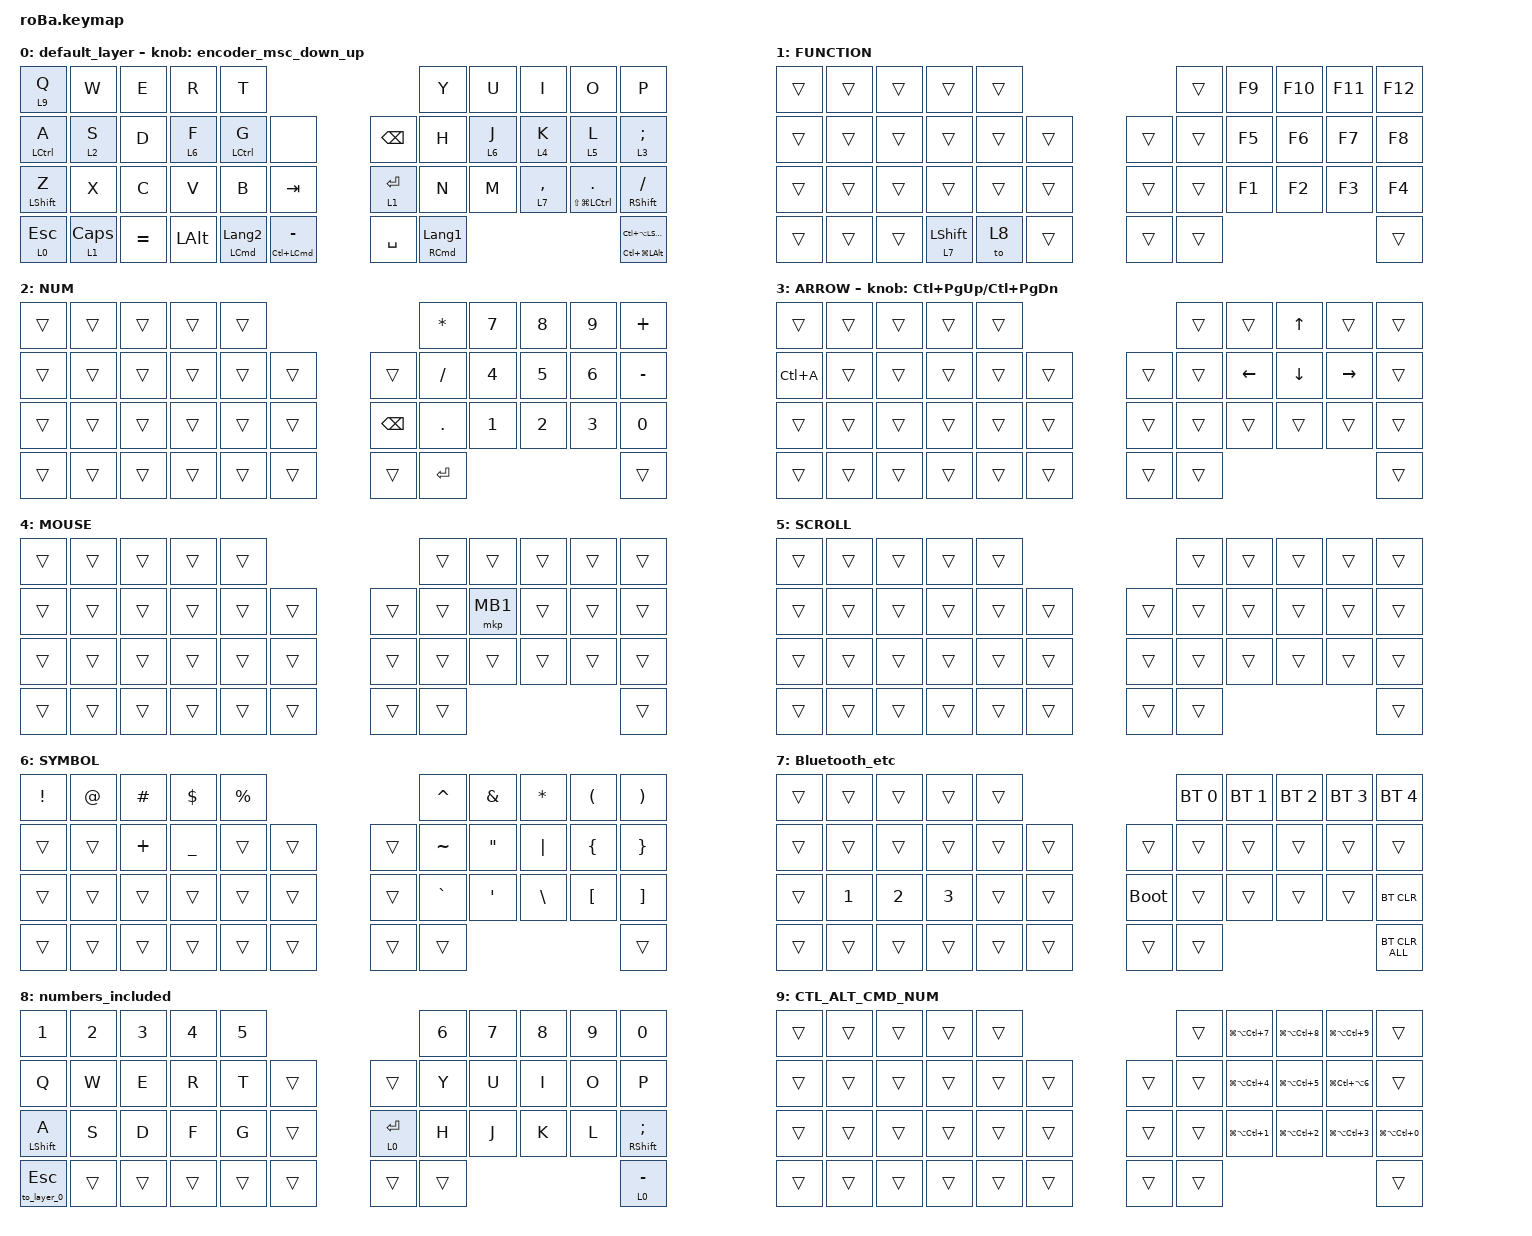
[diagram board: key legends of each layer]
#include <behaviors.dtsi>
#include <dt-bindings/zmk/bt.h>
#include <dt-bindings/zmk/keys.h>
#include <dt-bindings/zmk/pointing.h>

#define ZMK_POINTING_DEFAULT_SCRL_VAL 80

&mt {
    flavor = "balanced";
    quick-tap-ms = <0>;
};

&trackball {
    // automouse-layer = <4>;

    scroll-layers = <5>;

    // arrows {
    //     layers = <3>;
    //     bindings =
    //         <&kp RIGHT_ARROW>,
    //         <&kp LEFT_ARROW>,
    //         <&kp UP_ARROW>,
    //         <&kp DOWN_ARROW>;
    //     tick = <10>;
    //     wait-ms = <5>;
    //     tap-ms = <5>;
    // };
};

/ {
    combos { compatible = "zmk,combos"; };

    macros {
        to_layer_0: to_layer_0 {
            compatible = "zmk,behavior-macro-one-param";
            #binding-cells = <1>;
            bindings = <&to 0 &macro_param_1to1 &kp MACRO_PLACEHOLDER>;
            label = "TO_LAYER_0";
        };
    };

    behaviors {
        encoder_msc_down_up: encoder_msc_down_up {
            compatible = "zmk,behavior-sensor-rotate";
            label = "ENCODER_MSC_DOWN_UP";
            #sensor-binding-cells = <0>;
            bindings = <&msc SCRL_DOWN>, <&msc SCRL_UP>;

            tap-ms = <20>;
        };

        mt_sk: mt_sk {
            compatible = "zmk,behavior-hold-tap";
            label = "MT_SK";
            bindings = <&kp>, <&sk>;

            #binding-cells = <2>;
            tapping-term-ms = <200>;
            flavor = "balanced";
            quick-tap-ms = <0>;
        };

        lt_to_layer_0: lt_to_layer_0 {
            compatible = "zmk,behavior-hold-tap";
            label = "LAYER_TAP_TO_0";
            bindings = <&mo>, <&to_layer_0>;

            #binding-cells = <2>;
            tapping-term-ms = <200>;
        };
    };

    keymap {
        compatible = "zmk,keymap";

        default_layer {
            bindings = <
&lt 9 Q                  &kp W           &kp E      &kp R         &kp T                                                                       &kp Y                         &kp U    &kp I        &kp O                         &kp P
&mt LEFT_CONTROL A       &lt 2 S         &kp D      &lt 6 F       &mt LEFT_CONTROL G           &none                           &kp BACKSPACE  &kp H                         &lt 6 J  &lt 4 K      &lt 5 L                       &lt 3 SEMICOLON
&mt LEFT_SHIFT Z         &kp X           &kp C      &kp V         &kp B                        &kp TAB                         &lt 1 ENTER    &kp N                         &kp M    &lt 7 COMMA  &mt LS(LG(LEFT_CONTROL)) DOT  &mt RIGHT_SHIFT SLASH
&lt_to_layer_0 0 ESCAPE  &lt 1 CAPSLOCK  &kp EQUAL  &kp LEFT_ALT  &mt LEFT_COMMAND LANGUAGE_2  &mt LC(LEFT_COMMAND) MINUS      &kp SPACE      &mt RIGHT_COMMAND LANGUAGE_1                                                      &mt_sk LC(LG(LEFT_ALT)) LC(LA(LEFT_SHIFT))
            >;

            sensor-bindings = <&encoder_msc_down_up>;
        };

        FUNCTION {
            bindings = <
&trans  &trans  &trans  &trans                       &trans                      &trans  &kp F9  &kp F10  &kp F11  &kp F12
&trans  &trans  &trans  &trans                       &trans  &trans      &trans  &trans  &kp F5  &kp F6   &kp F7   &kp F8
&trans  &trans  &trans  &trans                       &trans  &trans      &trans  &trans  &kp F1  &kp F2   &kp F3   &kp F4
&trans  &trans  &trans  &lt_to_layer_0 7 LEFT_SHIFT  &to 8   &trans      &trans  &trans                            &trans
            >;
        };

        NUM {
            bindings = <
&trans  &trans  &trans  &trans  &trans                             &kp ASTRK  &kp N7  &kp N8  &kp N9  &kp PLUS
&trans  &trans  &trans  &trans  &trans  &trans      &trans         &kp SLASH  &kp N4  &kp N5  &kp N6  &kp MINUS
&trans  &trans  &trans  &trans  &trans  &trans      &kp BACKSPACE  &kp DOT    &kp N1  &kp N2  &kp N3  &kp N0
&trans  &trans  &trans  &trans  &trans  &trans      &trans         &kp ENTER                          &trans
            >;
        };

        ARROW {
            bindings = <
&trans     &trans  &trans  &trans  &trans                      &trans  &trans          &kp UP_ARROW    &trans           &trans
&kp LC(A)  &trans  &trans  &trans  &trans  &trans      &trans  &trans  &kp LEFT_ARROW  &kp DOWN_ARROW  &kp RIGHT_ARROW  &trans
&trans     &trans  &trans  &trans  &trans  &trans      &trans  &trans  &trans          &trans          &trans           &trans
&trans     &trans  &trans  &trans  &trans  &trans      &trans  &trans                                                   &trans
            >;

            sensor-bindings = <&inc_dec_kp LC(PAGE_UP) LC(PAGE_DOWN)>;
        };

        MOUSE {
            bindings = <
&trans  &trans  &trans  &trans  &trans                      &trans  &trans    &trans  &trans  &trans
&trans  &trans  &trans  &trans  &trans  &trans      &trans  &trans  &mkp MB1  &trans  &trans  &trans
&trans  &trans  &trans  &trans  &trans  &trans      &trans  &trans  &trans    &trans  &trans  &trans
&trans  &trans  &trans  &trans  &trans  &trans      &trans  &trans                            &trans
            >;
        };

        SCROLL {
            bindings = <
&trans  &trans  &trans  &trans  &trans                      &trans  &trans  &trans  &trans  &trans
&trans  &trans  &trans  &trans  &trans  &trans      &trans  &trans  &trans  &trans  &trans  &trans
&trans  &trans  &trans  &trans  &trans  &trans      &trans  &trans  &trans  &trans  &trans  &trans
&trans  &trans  &trans  &trans  &trans  &trans      &trans  &trans                          &trans
            >;
        };

        SYMBOL {
            bindings = <
&kp EXCL  &kp AT  &kp HASH  &kp DOLLAR      &kp PERCENT                      &kp CARET  &kp AMPERSAND      &kp ASTRK      &kp LEFT_PARENTHESIS  &kp RIGHT_PARENTHESIS
&trans    &trans  &kp PLUS  &kp UNDERSCORE  &trans       &trans      &trans  &kp TILDE  &kp DOUBLE_QUOTES  &kp PIPE       &kp LEFT_BRACE        &kp RIGHT_BRACE
&trans    &trans  &trans    &trans          &trans       &trans      &trans  &kp GRAVE  &kp SINGLE_QUOTE   &kp BACKSLASH  &kp LEFT_BRACKET      &kp RIGHT_BRACKET
&trans    &trans  &trans    &trans          &trans       &trans      &trans  &trans                                                             &trans
            >;
        };

        Bluetooth_etc {
            bindings = <
&trans  &trans        &trans        &trans        &trans                           &bt BT_SEL 0  &bt BT_SEL 1  &bt BT_SEL 2  &bt BT_SEL 3  &bt BT_SEL 4
&trans  &trans        &trans        &trans        &trans  &trans      &trans       &trans        &trans        &trans        &trans        &trans
&trans  &kp NUMBER_1  &kp NUMBER_2  &kp NUMBER_3  &trans  &trans      &bootloader  &trans        &trans        &trans        &trans        &bt BT_CLR
&trans  &trans        &trans        &trans        &trans  &trans      &trans       &trans                                                  &bt BT_CLR_ALL
            >;
        };

        numbers_included {
            bindings = <
&kp N1              &kp N2  &kp N3  &kp N4  &kp N5                                      &kp N6  &kp N7  &kp N8  &kp N9  &kp N0
&kp Q               &kp W   &kp E   &kp R   &kp T   &trans      &trans                  &kp Y   &kp U   &kp I   &kp O   &kp P
&mt LEFT_SHIFT A    &kp S   &kp D   &kp F   &kp G   &trans      &lt_to_layer_0 0 ENTER  &kp H   &kp J   &kp K   &kp L   &mt RIGHT_SHIFT SEMICOLON
&to_layer_0 ESCAPE  &trans  &trans  &trans  &trans  &trans      &trans                  &trans                          &lt 0 MINUS
            >;
        };

        CTL_ALT_CMD_NUM {
            bindings = <
&trans  &trans  &trans  &trans  &trans                      &trans  &kp LG(LA(LC(N7)))        &kp LG(LA(LC(N8)))        &kp LG(LA(LC(N9)))        &trans
&trans  &trans  &trans  &trans  &trans  &trans      &trans  &trans  &kp LG(LA(LC(NUMBER_4)))  &kp LG(LA(LC(N5)))        &kp LG(LC(LA(NUMBER_6)))  &trans
&trans  &trans  &trans  &trans  &trans  &trans      &trans  &trans  &kp LG(LA(LC(NUMBER_1)))  &kp LG(LA(LC(NUMBER_2)))  &kp LG(LA(LC(NUMBER_3)))  &kp LG(LA(LC(N0)))
&trans  &trans  &trans  &trans  &trans  &trans      &trans  &trans                                                                                &trans
            >;
        };
    };
};
